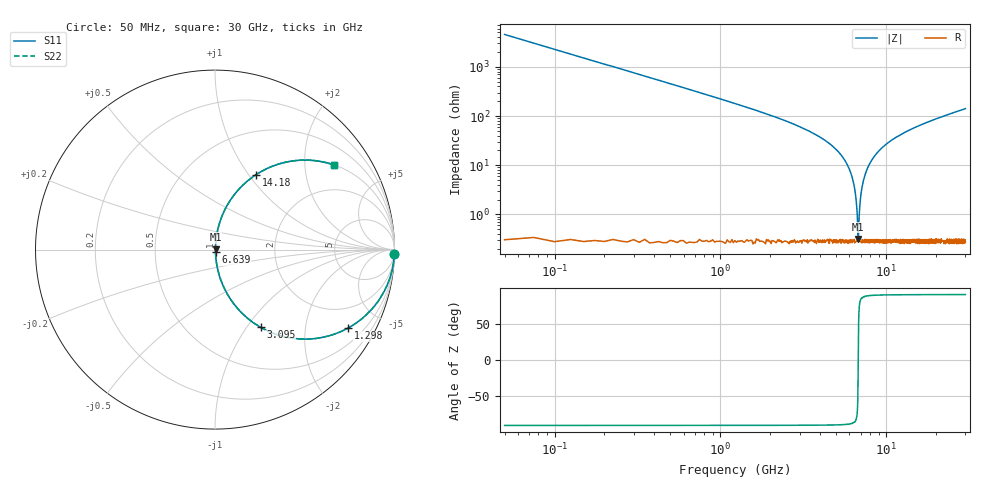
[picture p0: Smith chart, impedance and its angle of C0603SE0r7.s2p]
!	AVX Thin Film Operation 	Date: April 2014
!	Description: Accu-P® Series, Thin Film  SMD RF Capacitor
!	Part Number: 06031J0R7PBSTR
# MHZ S MA R 50
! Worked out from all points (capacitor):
!   1201 points, 50 MHz to 30 GHz, reference 50 ohm
!   read as one part in series: C = 699 fF near 199.8 MHz
!   lowest |Z| = 317 mohm at 6.789 GHz (marker M1)
!   series resonance near 6.777 GHz, so ESL is about 790 pH
!   S11 on the Smith chart (normalised r, x): 50 MHz: -0, -91; 1.298 GHz: 1.00, -3.38; 3.095 GHz: 1.01, -1.16; 6.639 GHz: 1.01, -0.03; 14.18 GHz: 1.01, +1.08; 30 GHz: 1.00, +2.82
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50  1 -1.3  0.022 88.7  0.022 88.7  1 -1.3
274.625  0.993 -6.9  0.12 83.1  0.12 83.1  0.993 -6.9
474.292  0.979 -11.8  0.205 78.1  0.205 78.1  0.979 -11.8
1297.917  0.86 -30.6  0.509 59.3  0.509 59.3  0.86 -30.6
3094.917  0.502 -59.6  0.863 30.1  0.863 30.1  0.502 -59.6
5041.667  0.197 -77.8  0.978 11.4  0.978 11.4  0.197 -77.8
5740.5  0.111 -82.2  0.991 6.4  0.991 6.4  0.111 -82.2
6189.75  0.061 -83.8  0.995 3.5  0.995 3.5  0.061 -83.8
6464.292  0.032 -83.0  0.997 1.8  0.997 1.8  0.032 -83.0
6639  0.014 -77.5  0.997 0.8  0.997 0.8  0.014 -77.5
6788.75  0.003087 22.9  0.997 -0.1  0.997 -0.1  0.003087 22.9
6888.583  0.011 74.8  0.997 -0.6  0.997 -0.6  0.011 74.8
7013.375  0.023 81.6  0.997 -1.3  0.997 -1.3  0.023 81.6
7138.167  0.035 83.3  0.997 -2.0  0.997 -2.0  0.035 83.3
7637.333  0.08 83.4  0.994 -4.6  0.994 -4.6  0.08 83.4
8585.75  0.158 79.9  0.985 -9.1  0.985 -9.1  0.158 79.9
10058.29  0.262 74.2  0.962 -15.2  0.962 -15.2  0.262 74.2
14176.42  0.475 61.3  0.877 -28.4  0.877 -28.4  0.475 61.3
15025  0.509 59.1  0.858 -30.6  0.858 -30.6  0.509 59.1
20016.67  0.658 48.6  0.75 -41.2  0.75 -41.2  0.658 48.6
25033.29  0.753 41.0  0.656 -48.9  0.656 -48.9  0.753 41.0
30000  0.815 35.3  0.578 -54.6  0.578 -54.6  0.815 35.3
